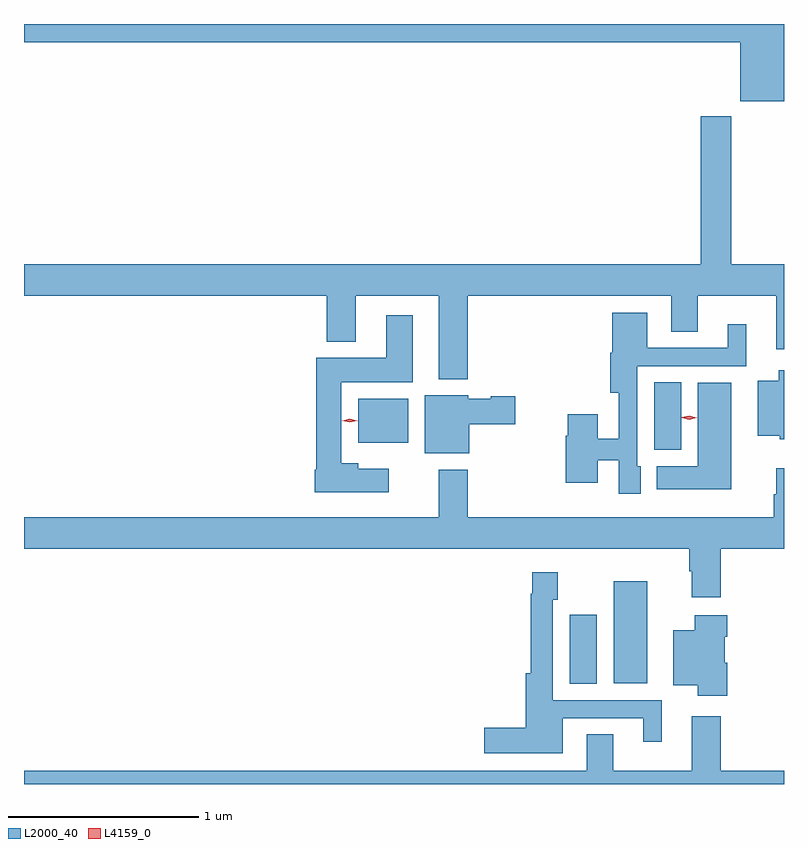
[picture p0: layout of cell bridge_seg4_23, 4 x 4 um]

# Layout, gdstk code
import gdstk
lib = gdstk.Library(unit=1e-6, precision=1e-09)
def R(c, l, rs):  # rectangles x0, y0, x1, y1
    for r in rs: c.add(gdstk.rectangle(r[:2], r[2:], *l))
def P(c, l, *ps):  # polygons
    for p in ps: c.add(gdstk.Polygon(p, *l))
L2000_40 = (2000, 40)
L4159_0 = (4159, 0)

bridge_seg4_23 = lib.new_cell('bridge_seg4_23')
R(bridge_seg4_23, L2000_40, [(1011.395,765.472,1011.538,765.835), (1011.626,765.476,1011.802,766.012), (1011.839,766.703,1011.982,767.06), (1010.282,766.742,1010.545,766.972)])
P(bridge_seg4_23, L2000_40, [(1012.523,768.945),(1008.523,768.945),(1008.523,768.848),(1012.292,768.848),(1012.292,768.539),(1012.523,768.539)],
  [(1010.858,767.516),(1011.929,767.516),(1011.929,767.326),(1012.069,767.326),(1012.069,767.516),(1012.481,767.516),(1012.481,767.232),(1012.523,767.232),(1012.523,767.68),(1012.245,767.68),(1012.245,768.46),(1012.085,768.46),(1012.085,767.68),(1008.523,767.68),(1008.523,767.516),(1010.117,767.516),(1010.117,767.273),(1010.269,767.273),(1010.269,767.516),(1010.705,767.516),(1010.705,767.075),(1010.858,767.075)],
  [(1011.769,766.617),(1011.75,766.617),(1011.75,767.145),(1012.324,767.145),(1012.324,767.365),(1012.226,767.365),(1012.226,767.241),(1011.802,767.241),(1011.802,767.425),(1011.62,767.425),(1011.62,767.214),(1011.608,767.214),(1011.608,767.003),(1011.654,767.003),(1011.654,766.761),(1011.544,766.761),(1011.544,766.891),(1011.386,766.891),(1011.386,766.778),(1011.374,766.778),(1011.374,766.53),(1011.544,766.53),(1011.544,766.65),(1011.654,766.65),(1011.654,766.473),(1011.769,766.473)],
  [(1010.443,766.603),(1010.281,766.603),(1010.281,766.633),(1010.194,766.633),(1010.194,767.06),(1010.569,767.06),(1010.569,767.413),(1010.429,767.413),(1010.429,767.188),(1010.06,767.188),(1010.06,766.599),(1010.054,766.599),(1010.054,766.481),(1010.443,766.481)],
  [(1012.523,767.122),(1012.496,767.122),(1012.496,767.068),(1012.385,767.068),(1012.385,766.778),(1012.5,766.778),(1012.5,766.76),(1012.523,766.76)],
  [(1012.246,767.056),(1012.07,767.056),(1012.07,766.618),(1011.854,766.618),(1011.854,766.496),(1012.246,766.496)],
  [(1010.866,766.838),(1011.109,766.838),(1011.109,766.985),(1010.979,766.985),(1010.979,766.972),(1010.862,766.972),(1010.862,766.99),(1010.633,766.99),(1010.633,766.685),(1010.866,766.685)],
  [(1012.19,766.184),(1012.523,766.184),(1012.523,766.606),(1012.481,766.606),(1012.481,766.469),(1012.469,766.469),(1012.469,766.348),(1010.858,766.348),(1010.858,766.6),(1010.705,766.6),(1010.705,766.348),(1008.523,766.348),(1008.523,766.184),(1012.025,766.184),(1012.025,766.064),(1012.037,766.064),(1012.037,765.927),(1012.19,765.927)],
  [(1011.358,765.291),(1011.782,765.291),(1011.782,765.168),(1011.88,765.168),(1011.88,765.387),(1011.306,765.387),(1011.306,765.915),(1011.333,765.915),(1011.333,766.06),(1011.198,766.06),(1011.198,765.947),(1011.19,765.947),(1011.19,765.529),(1011.164,765.529),(1011.164,765.242),(1010.946,765.242),(1010.946,765.107),(1011.358,765.107)],
  [(1012.223,765.583),(1012.21,765.583),(1012.21,765.719),(1012.223,765.719),(1012.223,765.832),(1012.052,765.832),(1012.052,765.754),(1011.941,765.754),(1011.941,765.464),(1012.07,765.464),(1012.07,765.41),(1012.223,765.41)],
  [(1012.523,765.016),(1012.19,765.016),(1012.19,765.301),(1012.037,765.301),(1012.037,765.016),(1011.625,765.016),(1011.625,765.206),(1011.485,765.206),(1011.485,765.016),(1008.523,765.016),(1008.523,764.945),(1012.523,764.945)])
P(bridge_seg4_23, L4159_0, [(1012.025,766.863),(1011.985,766.873),(1011.985,766.874),(1011.985,766.874),(1012.025,766.883),(1012.064,766.873),(1012.065,766.873),(1012.064,766.873)],
  [(1010.237,766.848),(1010.198,766.858),(1010.197,766.858),(1010.198,766.858),(1010.238,766.868),(1010.277,766.857),(1010.278,766.857),(1010.277,766.857)])

lib.write_gds('bridge_seg4_23.gds')
